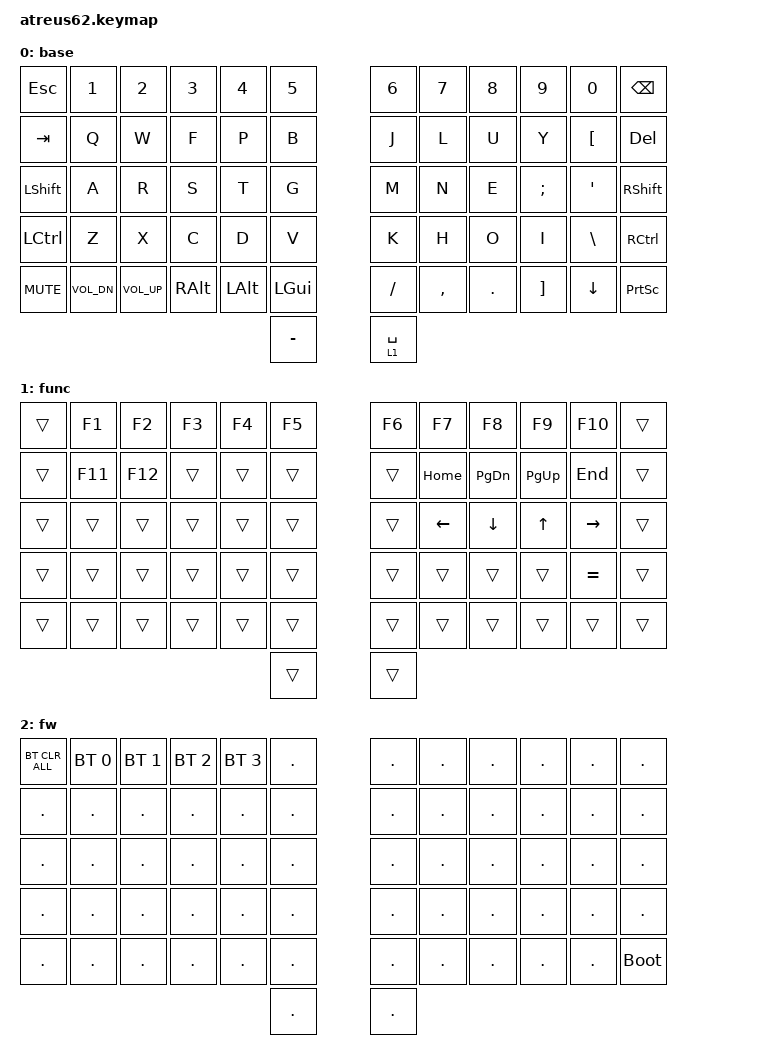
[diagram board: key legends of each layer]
#include <behaviors.dtsi>
#include <dt-bindings/zmk/bt.h>
#include <dt-bindings/zmk/keys.h>

/*
Key positions:

00 01 02 03 04 05       06 07 08 09 10 11
12 13 14 15 16 17       18 19 20 21 22 23
24 25 26 27 28 29       30 31 32 33 34 35
36 37 38 39 40 41       42 43 44 45 46 47
48 49 50 51 52 53       54 55 56 57 58 59
                  60 61
*/

/ {
    behaviors {
        modsLeft: modsLeft {
            compatible = "zmk,behavior-hold-tap";
            label = "MODSLEFT";
            bindings = <&kp>, <&kp>;

            #binding-cells = <2>;
            tapping-term-ms = <280>;
            quick-tap-ms = <175>;
            hold-trigger-on-release;
            hold-trigger-key-positions = <6 7 8 9 10 11 18 19 20 21 22 23 30 31 32 33 34 35 42 43 44 45 46 47 54 55 56 57 58 59 61>;
            flavor = "balanced";
            require-prior-idle-ms = <125>;
        };

        modsRight: modsRight {
            compatible = "zmk,behavior-hold-tap";
            label = "MODSRIGHT";
            bindings = <&kp>, <&kp>;

            #binding-cells = <2>;
            tapping-term-ms = <280>;
            quick-tap-ms = <175>;
            hold-trigger-on-release;
            hold-trigger-key-positions = <0 1 2 3 4 5 12 13 14 15 16 17 24 25 26 27 28 29 36 37 38 39 40 41 48 49 50 51 52 53 60>;
            flavor = "balanced";
            require-prior-idle-ms = <125>;
        };

        mo_kp: mo_kp {
            compatible = "zmk,behavior-hold-tap";
            label = "MO_KP";
            bindings = <&mo>, <&kp>;

            #binding-cells = <2>;
            tapping-term-ms = <225>;
            quick-tap-ms = <175>;
            require-prior-idle-ms = <125>;
            flavor = "balanced";
        };
    };

    combos {
        compatible = "zmk,combos";

        to_fw {
            bindings = <&to 2>;
            key-positions = <11 48 59 0>;
            timeout-ms = <200>;
        };

        to_base {
            bindings = <&to 0>;
            key-positions = <5 6 54 53>;
        };

        r_enter {
            bindings = <&kp ENTER>;
            key-positions = <43 44>;
            timeout-ms = <100>;
            require-prior-idle-ms = <25>;
        };

        r_backspace {
            bindings = <&kp BACKSPACE>;
            key-positions = <19 20>;
            timeout-ms = <50>;
            require-prior-idle-ms = <75>;
        };

        r_delete {
            bindings = <&kp DEL>;
            key-positions = <20 21>;
            timeout-ms = <50>;
            require-prior-idle-ms = <75>;
        };

        r_tab {
            bindings = <&kp TAB>;
            key-positions = <19 18>;
            timeout-ms = <50>;
            require-prior-idle-ms = <75>;
        };
    };

    keymap {
        compatible = "zmk,keymap";

        base {
            bindings = <
&kp ESC     &kp N1        &kp N2        &kp N3    &kp N4    &kp N5     &kp N6          &kp N7     &kp N8      &kp N9             &kp N0         &kp BACKSPACE
&kp TAB     &kp Q         &kp W         &kp F     &kp P     &kp B      &kp J           &kp L      &kp U       &kp Y              &kp LBKT       &kp DEL
&kp LSHIFT  &kp A         &kp R         &kp S     &kp T     &kp G      &kp M           &kp N      &kp E       &kp SEMI           &kp SQT        &kp RSHIFT
&kp LCTRL   &kp Z         &kp X         &kp C     &kp D     &kp V      &kp K           &kp H      &kp O       &kp I              &kp BACKSLASH  &kp RCTRL
&kp C_MUTE  &kp C_VOL_DN  &kp C_VOL_UP  &kp RALT  &kp LALT  &kp LGUI   &kp SLASH       &kp COMMA  &kp PERIOD  &kp RIGHT_BRACKET  &kp DOWN       &kp PRINTSCREEN
                                                            &kp MINUS  &mo_kp 1 SPACE
            >;
        };

        func {
            bindings = <
&trans  &kp F1   &kp F2   &kp F3  &kp F4  &kp F5  &kp F6  &kp F7    &kp F8     &kp F9     &kp F10    &trans
&trans  &kp F11  &kp F12  &trans  &trans  &trans  &trans  &kp HOME  &kp PG_DN  &kp PG_UP  &kp END    &trans
&trans  &trans   &trans   &trans  &trans  &trans  &trans  &kp LEFT  &kp DOWN   &kp UP     &kp RIGHT  &trans
&trans  &trans   &trans   &trans  &trans  &trans  &trans  &trans    &trans     &trans     &kp EQUAL  &trans
&trans  &trans   &trans   &trans  &trans  &trans  &trans  &trans    &trans     &trans     &trans     &trans
                                          &trans  &trans
            >;
        };

        fw {
            bindings = <
&bt BT_CLR_ALL  &bt BT_SEL 0  &bt BT_SEL 1  &bt BT_SEL 2  &bt BT_SEL 3  &kp PERIOD  &kp DOT  &kp DOT  &kp DOT  &kp DOT  &kp DOT  &kp DOT
&kp DOT         &kp DOT       &kp DOT       &kp DOT       &kp DOT       &kp DOT     &kp DOT  &kp DOT  &kp DOT  &kp DOT  &kp DOT  &kp DOT
&kp DOT         &kp DOT       &kp DOT       &kp DOT       &kp DOT       &kp DOT     &kp DOT  &kp DOT  &kp DOT  &kp DOT  &kp DOT  &kp DOT
&kp DOT         &kp DOT       &kp DOT       &kp DOT       &kp DOT       &kp DOT     &kp DOT  &kp DOT  &kp DOT  &kp DOT  &kp DOT  &kp DOT
&kp DOT         &kp DOT       &kp DOT       &kp DOT       &kp DOT       &kp DOT     &kp DOT  &kp DOT  &kp DOT  &kp DOT  &kp DOT  &bootloader
                                                                        &kp DOT     &kp DOT
            >;
        };
    };

    conditional_layers { compatible = "zmk,conditional-layers"; };
};
